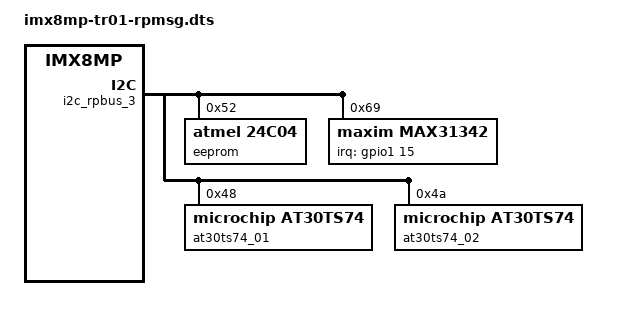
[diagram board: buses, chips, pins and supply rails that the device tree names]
// SPDX-License-Identifier: (GPL-2.0 OR MIT)
/*
 * Copyright 2020 NXP
 */

/dts-v1/;

#include "imx8mp-tr01.dts"

/ {
	aliases {
		i2c0 = &i2c1;
		i2c1 = &i2c2;
		i2c2 = &i2c_rpbus_3;
	};

	reserved-memory {
		#address-cells = <2>;
		#size-cells = <2>;
		ranges;

		m4_reserved: m4@0x80000000 {
			no-map;
			reg = <0 0x80000000 0 0x1000000>;
		};

		vdev0vring0: vdev0vring0@55000000 {
			reg = <0 0x55000000 0 0x8000>;
			no-map;
		};

		vdev0vring1: vdev0vring1@55008000 {
			reg = <0 0x55008000 0 0x8000>;
			no-map;
		};

		vdevbuffer: vdevbuffer@55400000 {
			compatible = "shared-dma-pool";
			reg = <0 0x55400000 0 0x100000>;
			no-map;
		};

		rsc_table: rsc_table@550ff000 {
			reg = <0 0x550ff000 0 0x1000>;
			no-map;
		};

		audio_reserved: audio@0x81000000 {
			compatible = "shared-dma-pool";
			no-map;
			reg = <0 0x81000000 0 0x10000000>;
		};

		micfil_reserved: mic_rpmsg@91000000 {
			compatible = "shared-dma-pool";
			no-map;
			reg = <0 0x91000000 0 0x100000>;
		};
	};

	sound-wm8960 {
		status = "disabled";
	};

	sound-micfil {
		status = "disabled";
	};

	imx8mp-cm7 {
		compatible = "fsl,imx8mn-cm7";
		rsc-da = <0x55000000>;
		clocks = <&clk IMX8MP_CLK_M7_DIV>;
		mbox-names = "tx", "rx", "rxdb";
		mboxes = <&mu 0 1
			  &mu 1 1
			  &mu 3 1>;
		memory-region = <&vdevbuffer>, <&vdev0vring0>, <&vdev0vring1>, <&rsc_table>;
		status = "okay";
		fsl,startup-delay-ms = <500>;
	};
};

/*
 * ATTENTION: M7 may use IPs like below
 * ECSPI0/ECSPI2, FLEXCAN, GPIO1/GPIO5, GPT1, I2C3, I2S3, UART4,
 * PWM4, SDMA1/SDMA2
 */
&ecspi2 {
	status = "disabled";
};

&flexcan1 {
	status = "disabled";
};

&flexspi {
	status = "disabled";
};

/delete-node/ &i2c3;

&i2c_rpbus_3 {
	compatible = "fsl,i2c-rpbus";
	#address-cells = <1>;
	#size-cells = <0>;
	status = "okay";

	eeprom@52 {
		compatible = "atmel,24c04"; /* Todo : Address need to confirm*/
		reg = <0x52>;
	};

	max31342: max31342@69 {
		compatible = "maxim,max31342";
		reg = <0x69>;
		interrupt-parent = <&gpio1>;
		interrupts = <15 8>;
	};

	at30ts74_01: at30ts74_01@48 {
		compatible = "microchip,at30ts74";
		reg = <0x48>;
	};

	at30ts74_02: at30ts74_02@4a {
		compatible = "microchip,at30ts74";
		reg = <0x4a>;
	};
};

&pwm4{
	status = "disabled";
};

&sai3 {
	status = "disabled";
};

&micfil {
	status = "disabled";
};

&sdma3{
	status = "disabled";
};

&uart3 {
    status = "disabled";
};

&uart4 {
	status = "disabled";
};
